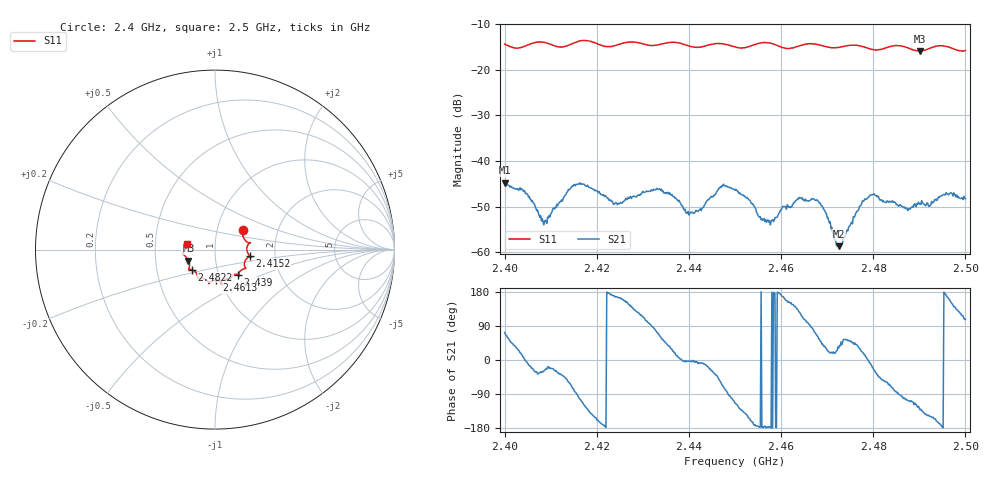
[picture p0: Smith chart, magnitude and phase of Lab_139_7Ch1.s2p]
# Hz S RI R 50
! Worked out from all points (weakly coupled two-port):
!   601 points, 2.4 GHz to 2.5 GHz, reference 50 ohm
!   highest |S21| = -44.73 dB at 2.4 GHz (marker M1); lowest = -58.6 dB at 2.4725 GHz (marker M2)
!   lowest |S11| = -15.9 dB at 2.4902 GHz (marker M3), VSWR 1.38, Z = 36.9 - j4.65 ohm
!   |S11| at or under -10 dB: start of sweep to end of sweep
!   S12 and S22 are empty: the file has one direction only
!   S11 on the Smith chart (normalised r, x): 2.4 GHz: 1.33, +0.31; 2.4152 GHz: 1.48, -0.11; 2.439 GHz: 1.24, -0.36; 2.4613 GHz: 0.96, -0.34; 2.4822 GHz: 0.76, -0.17; 2.5 GHz: 0.72, +0.05
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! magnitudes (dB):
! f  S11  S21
! 2.4 GHz  -14.4  -44.7
! 2.4043 GHz  -14.9  -46.5
! 2.4087 GHz  -14.0  -53.0
! 2.4152 GHz  -14.1  -45.1
! 2.4167 GHz  -13.6  -45.0
! 2.424 GHz  -14.7  -49.2
! 2.4333 GHz  -14.5  -46.2
! 2.439 GHz  -14.5  -50.7
! 2.4423 GHz  -15.1  -50.6
! 2.4473 GHz  -14.3  -45.4
! 2.45 GHz  -15.0  -46.4
! 2.4572 GHz  -14.1  -52.9
! 2.4613 GHz  -15.3  -49.5
! 2.4667 GHz  -14.3  -48.2
! 2.4693 GHz  -14.8  -50.7
! 2.4725 GHz  -15.1  -58.6
! 2.478 GHz  -15.0  -48.7
! 2.4822 GHz  -15.4  -48.6
! 2.4833 GHz  -15.0  -49.0
! 2.4902 GHz  -15.9  -49.3
! 2.4963 GHz  -15.0  -47.4
! 2.5 GHz  -15.8  -48.2
